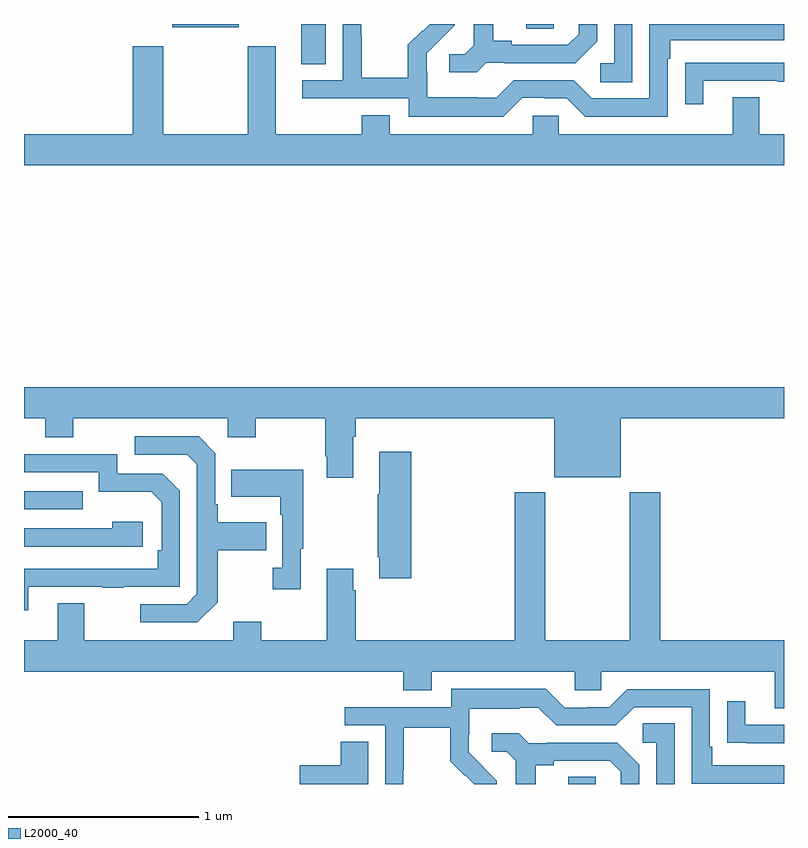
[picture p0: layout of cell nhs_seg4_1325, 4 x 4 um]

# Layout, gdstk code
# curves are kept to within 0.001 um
import gdstk
lib = gdstk.Library(unit=1e-6, precision=1e-09)
def R(c, l, rs):  # rectangles x0, y0, x1, y1
    for r in rs: c.add(gdstk.rectangle(r[:2], r[2:], *l))
def P(c, l, *ps):  # polygons
    for p in ps: c.add(gdstk.Polygon(p, *l))
L2000_40 = (2000, 40)

nhs_seg4_1325 = lib.new_cell('nhs_seg4_1325')
R(nhs_seg4_1325, L2000_40, [(181.865,790.9,182.01,790.937), (179,792.345,179.309,792.441), (180.458,794.689,180.589,794.9), (181.643,794.875,181.788,794.9), (179.78,794.882,180.13,794.9)])
P(nhs_seg4_1325, L2000_40, [(182.202,794.9),(182.106,794.9),(182.106,794.694),(182.034,794.694),(182.034,794.593),(182.202,794.593)],
  [(181.623,794.511),(181.739,794.511),(181.739,794.508),(181.857,794.508),(181.953,794.412),(182.388,794.412),(182.388,794.717),(182.401,794.717),(182.401,794.814),(183,794.814),(183,794.9),(182.292,794.9),(182.292,794.508),(181.989,794.508),(181.893,794.604),(181.578,794.604),(181.485,794.511),(181.385,794.511),(181.385,794.515),(181.122,794.515),(181.122,794.649),(181.12,794.649),(181.12,794.746),(181.266,794.894),(181.266,794.9),(181.136,794.9),(181.101,794.865),(181.098,794.868),(181.021,794.791),(181.021,794.617),(180.777,794.617),(180.777,794.84),(180.774,794.84),(180.774,794.9),(180.678,794.9),(180.678,794.604),(180.465,794.604),(180.465,794.508),(181.026,794.508),(181.026,794.411),(181.523,794.411)],
  [(181.434,794.697),(181.528,794.697),(181.528,794.694),(181.9,794.694),(182.016,794.81),(182.016,794.9),(181.919,794.9),(181.919,794.847),(181.862,794.79),(181.567,794.79),(181.567,794.813),(181.471,794.813),(181.471,794.9),(181.367,794.9),(181.367,794.789),(181.32,794.742),(181.239,794.742),(181.239,794.645),(181.382,794.645)],
  [(183,794.32),(182.869,794.32),(182.869,794.515),(182.729,794.515),(182.729,794.32),(181.815,794.32),(181.815,794.418),(181.677,794.418),(181.677,794.32),(180.925,794.32),(180.925,794.419),(180.778,794.419),(180.778,794.32),(180.325,794.32),(180.325,794.782),(180.178,794.782),(180.178,794.32),(179.733,794.32),(179.733,794.782),(179.573,794.782),(179.573,794.32),(179,794.32),(179,794.156),(183,794.156)],
  [(182.575,794.601),(182.965,794.601),(182.965,794.596),(183,794.596),(183,794.697),(182.581,794.697),(182.581,794.696),(182.479,794.696),(182.479,794.478),(182.575,794.478)],
  [(179,792.824),(179.111,792.824),(179.111,792.725),(179.259,792.725),(179.259,792.824),(180.072,792.824),(180.072,792.725),(180.219,792.725),(180.219,792.824),(180.586,792.824),(180.586,792.625),(180.593,792.625),(180.593,792.513),(180.733,792.513),(180.733,792.728),(180.746,792.728),(180.746,792.824),(181.79,792.824),(181.79,792.515),(182.14,792.515),(182.14,792.824),(183,792.824),(183,792.988),(179,792.988)],
  [(180.019,791.857),(180.019,792.13),(180.275,792.13),(180.275,792.277),(180.019,792.277),(180.019,792.373),(180.006,792.373),(180.006,792.642),(179.919,792.729),(179.583,792.729),(179.583,792.633),(179.859,792.633),(179.91,792.582),(179.91,791.901),(179.856,791.847),(179.613,791.847),(179.613,791.751),(179.913,791.751)],
  [(181.037,792.649),(180.869,792.649),(180.869,792.425),(180.862,792.425),(180.862,792.094),(180.869,792.094),(180.869,791.982),(181.037,791.982)],
  [(179.023,791.937),(179.413,791.937),(179.413,791.932),(179.525,791.932),(179.525,791.937),(179.82,791.937),(179.82,792.444),(179.73,792.534),(179.49,792.534),(179.49,792.636),(179,792.636),(179,792.54),(179.394,792.54),(179.394,792.437),(179.671,792.437),(179.724,792.384),(179.724,792.13),(179.704,792.13),(179.704,792.033),(179,792.032),(179,791.814),(179.023,791.814)],
  [(180.457,792.137),(180.469,792.137),(180.469,792.553),(180.091,792.553),(180.091,792.413),(180.348,792.413),(180.348,792.317),(180.36,792.317),(180.36,792.038),(180.309,792.038),(180.309,791.925),(180.457,791.925)],
  [(183,791.656),(182.348,791.656),(182.348,792.436),(182.188,792.436),(182.188,791.656),(181.743,791.656),(181.743,792.436),(181.583,792.436),(181.583,791.656),(180.746,791.656),(180.746,791.921),(180.733,791.921),(180.733,792.034),(180.593,792.034),(180.593,791.656),(180.249,791.656),(180.249,791.755),(180.101,791.755),(180.101,791.656),(179.317,791.656),(179.317,791.851),(179.177,791.851),(179.177,791.656),(179,791.656),(179,791.492),(180.995,791.492),(180.995,791.393),(181.147,791.393),(181.147,791.492),(181.899,791.492),(181.899,791.394),(182.037,791.394),(182.037,791.492),(182.951,791.492),(182.951,791.298),(183,791.298)],
  [(179.626,792.28),(179.465,792.28),(179.465,792.246),(179,792.246),(179,792.15),(179.626,792.15)],
  [(180.996,790.972),(180.999,790.972),(180.999,791.196),(181.243,791.196),(181.243,791.021),(181.32,790.944),(181.323,790.947),(181.371,790.9),(181.488,790.9),(181.488,790.918),(181.342,791.066),(181.342,791.163),(181.344,791.163),(181.344,791.297),(181.607,791.297),(181.607,791.301),(181.707,791.301),(181.8,791.208),(182.115,791.208),(182.211,791.304),(182.514,791.304),(182.514,790.902),(183,790.902),(183,790.998),(182.623,790.998),(182.623,791.095),(182.61,791.095),(182.61,791.4),(182.175,791.4),(182.079,791.304),(181.961,791.304),(181.961,791.301),(181.845,791.301),(181.745,791.401),(181.248,791.401),(181.248,791.304),(180.687,791.304),(180.687,791.208),(180.9,791.208),(180.9,790.9),(180.996,790.9)],
  [(183,791.211),(182.797,791.211),(182.797,791.335),(182.701,791.335),(182.701,791.116),(182.803,791.116),(182.803,791.115),(183,791.115)],
  [(182.424,791.219),(182.256,791.219),(182.256,791.118),(182.328,791.118),(182.328,790.9),(182.424,790.9)],
  [(181.693,791),(181.789,791),(181.789,791.022),(182.084,791.022),(182.141,790.965),(182.141,790.9),(182.238,790.9),(182.238,791.002),(182.122,791.118),(181.75,791.118),(181.75,791.115),(181.656,791.115),(181.604,791.167),(181.461,791.167),(181.461,791.07),(181.542,791.07),(181.589,791.023),(181.589,790.9),(181.693,790.9)],
  [(180.811,791.123),(180.668,791.123),(180.668,791),(180.45,791),(180.45,790.9),(180.811,790.9)])

lib.write_gds('nhs_seg4_1325.gds')
